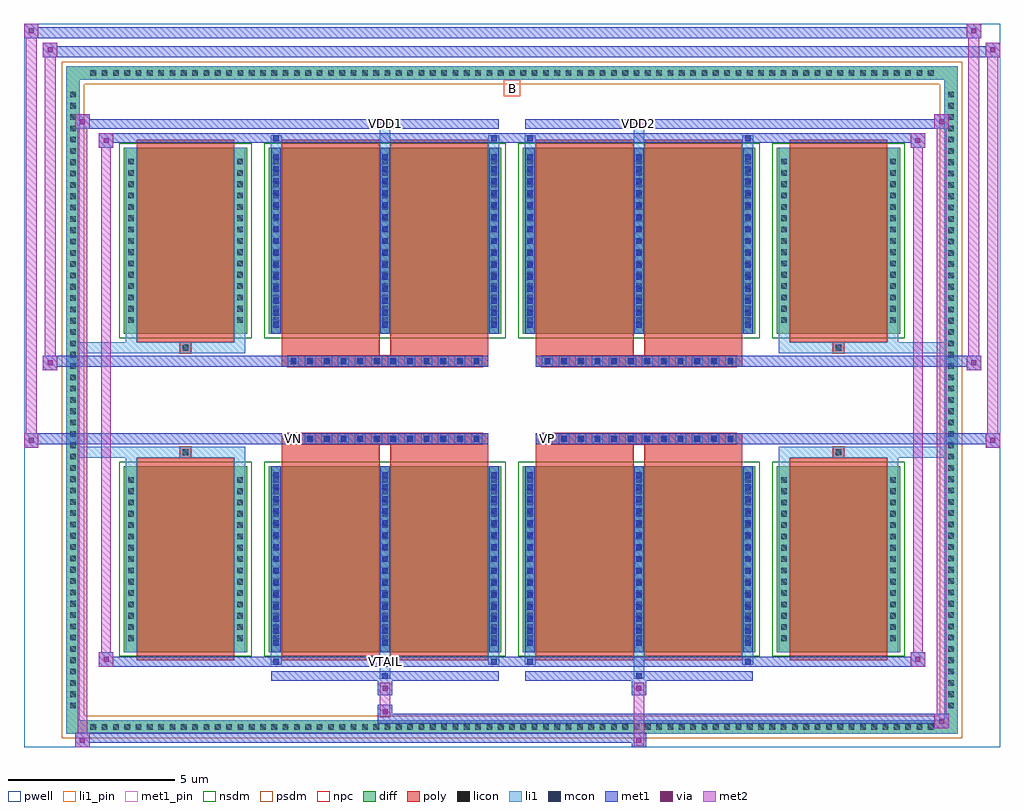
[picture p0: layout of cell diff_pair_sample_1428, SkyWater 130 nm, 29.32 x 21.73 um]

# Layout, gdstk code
import gdstk
lib = gdstk.Library(unit=1e-6, precision=5e-09)
def R(c, l, rs):  # rectangles x0, y0, x1, y1
    for r in rs: c.add(gdstk.rectangle(r[:2], r[2:], *l))
def A(c, l, x, y, w, h, nx, ny, dx, dy):  # array of equal rectangles
    R(c, l, [(x+i*dx, y+j*dy, x+i*dx+w, y+j*dy+h) for i in range(nx) for j in range(ny)])
def P(c, l, *ps):  # polygons
    for p in ps: c.add(gdstk.Polygon(p, *l))
pwell = (64, 44)
diff = (65, 20)
poly = (66, 20)
licon = (66, 44)
li1_pin = (67, 16)
li1 = (67, 20)
mcon = (67, 44)
met1_pin = (68, 16)
met1 = (68, 20)
via = (68, 44)
met2 = (69, 20)
nsdm = (93, 44)
psdm = (94, 20)
npc = (95, 20)

diff_pair_sample_1428 = lib.new_cell('diff_pair_sample_1428')
R(diff_pair_sample_1428, pwell, [(-14.66,-10.43,14.66,11.3), (-11.98,-8.62,-0.01,-0.8), (0.01,-8.62,11.98,-0.8), (-11.98,0.8,-0.01,8.62), (0.01,0.8,11.98,8.62)])
A(diff_pair_sample_1428, diff, -12.785, -10.03, 0.41, 0.41, 75, 2, 0.34, 19.65)
A(diff_pair_sample_1428, diff, -13.39, -9.385, 0.41, 0.41, 1, 55, 0, 0.34)
A(diff_pair_sample_1428, diff, 12.98, -9.385, 0.41, 0.41, 1, 55, 0, 0.34)
R(diff_pair_sample_1428, diff, [(-12.785,-10.03,12.785,-9.62), (-13.39,-9.385,-12.98,9.385), (12.98,-9.385,13.39,9.385), (-11.67,-7.575,-7.95,-1.985), (-7.31,-7.575,-0.32,-1.985), (0.32,-7.575,7.31,-1.985), (7.95,-7.575,11.67,-1.985), (-11.67,1.985,-7.95,7.575), (-7.31,1.985,-0.32,7.575), (0.32,1.985,7.31,7.575), (7.95,1.985,11.67,7.575), (-12.785,9.62,12.785,10.03)])
P(diff_pair_sample_1428, diff, [(13.39,10.03),(-13.39,10.03),(-13.39,-9.62),(-12.98,-9.62),(-12.98,9.62),(12.98,9.62),(12.98,-9.62),(-12.98,-9.62),(-13.39,-9.62),(-13.39,-10.03),(13.39,-10.03)])
A(diff_pair_sample_1428, poly, -6.73, -1.33, 0.33, 0.33, 12, 2, 0.5, 2.33)
A(diff_pair_sample_1428, poly, 0.9, -1.33, 0.33, 0.33, 12, 2, 0.5, 2.33)
R(diff_pair_sample_1428, poly, [(-11.28,-7.825,-8.34,-1.735), (-6.92,-7.825,-3.98,-1.735), (-3.65,-7.825,-0.71,-1.735), (0.71,-7.825,3.65,-1.735), (3.98,-7.825,6.92,-1.735), (8.34,-7.825,11.28,-1.735), (-9.975,-1.735,-9.645,-1.405), (-9.975,-1.735,-9.645,-1.405), (-6.92,-1.735,-3.98,-1.33), (-3.65,-1.735,-0.71,-1.33), (0.71,-1.735,3.65,-1.33), (3.98,-1.735,6.92,-1.33), (9.645,-1.735,9.975,-1.405), (9.645,-1.735,9.975,-1.405), (-6.92,-1.33,-0.71,-1), (0.71,-1.33,6.92,-1), (-6.92,1,-0.71,1.33), (0.71,1,6.92,1.33), (-6.92,1.33,-3.98,1.735), (-3.65,1.33,-0.71,1.735), (0.71,1.33,3.65,1.735), (3.98,1.33,6.92,1.735), (-9.975,1.405,-9.645,1.735), (-9.975,1.405,-9.645,1.735), (9.645,1.405,9.975,1.735), (9.645,1.405,9.975,1.735), (-11.28,1.735,-8.34,7.825), (-6.92,1.735,-3.98,7.825), (-3.65,1.735,-0.71,7.825), (0.71,1.735,3.65,7.825), (3.98,1.735,6.92,7.825), (8.34,1.735,11.28,7.825)])
A(diff_pair_sample_1428, licon, -12.665, -9.91, 0.17, 0.17, 75, 2, 0.34, 19.65)
A(diff_pair_sample_1428, licon, -13.27, -9.265, 0.17, 0.17, 1, 55, 0, 0.34)
A(diff_pair_sample_1428, licon, 13.1, -9.265, 0.17, 0.17, 1, 55, 0, 0.34)
A(diff_pair_sample_1428, licon, -11.53, -7.245, 0.17, 0.17, 1, 15, 0, 0.34)
A(diff_pair_sample_1428, licon, -8.26, -7.245, 0.17, 0.17, 1, 15, 0, 0.34)
A(diff_pair_sample_1428, licon, -7.17, -7.245, 0.17, 0.17, 3, 15, 3.27, 0.34)
A(diff_pair_sample_1428, licon, 0.46, -7.245, 0.17, 0.17, 3, 15, 3.27, 0.34)
A(diff_pair_sample_1428, licon, 8.09, -7.245, 0.17, 0.17, 1, 15, 0, 0.34)
A(diff_pair_sample_1428, licon, 11.36, -7.245, 0.17, 0.17, 1, 15, 0, 0.34)
A(diff_pair_sample_1428, licon, -6.65, -1.25, 0.17, 0.17, 12, 2, 0.5, 2.33)
A(diff_pair_sample_1428, licon, 0.98, -1.25, 0.17, 0.17, 12, 2, 0.5, 2.33)
A(diff_pair_sample_1428, licon, -11.53, 2.315, 0.17, 0.17, 1, 15, 0, 0.34)
A(diff_pair_sample_1428, licon, -8.26, 2.315, 0.17, 0.17, 1, 15, 0, 0.34)
A(diff_pair_sample_1428, licon, -7.17, 2.315, 0.17, 0.17, 3, 15, 3.27, 0.34)
A(diff_pair_sample_1428, licon, 0.46, 2.315, 0.17, 0.17, 3, 15, 3.27, 0.34)
A(diff_pair_sample_1428, licon, 8.09, 2.315, 0.17, 0.17, 1, 15, 0, 0.34)
A(diff_pair_sample_1428, licon, 11.36, 2.315, 0.17, 0.17, 1, 15, 0, 0.34)
R(diff_pair_sample_1428, licon, [(-9.895,-1.655,-9.725,-1.485), (9.725,-1.655,9.895,-1.485), (-9.895,1.485,-9.725,1.655), (9.725,1.485,9.895,1.655)])
R(diff_pair_sample_1428, li1_pin, [(-0.25,9.12,0.25,9.62)])
A(diff_pair_sample_1428, li1, -12.745, -9.99, 0.33, 0.33, 75, 2, 0.34, 19.65)
A(diff_pair_sample_1428, li1, -13.35, -9.345, 0.33, 0.33, 1, 55, 0, 0.34)
A(diff_pair_sample_1428, li1, 13.02, -9.345, 0.33, 0.33, 1, 55, 0, 0.34)
A(diff_pair_sample_1428, li1, -7.25, -7.575, 0.33, 5.59, 3, 2, 3.27, 9.56)
A(diff_pair_sample_1428, li1, 0.38, -7.575, 0.33, 5.59, 3, 2, 3.27, 9.56)
A(diff_pair_sample_1428, li1, -7.17, -7.385, 0.17, 0.17, 3, 15, 3.27, 0.36)
A(diff_pair_sample_1428, li1, -7.17, -7.385, 0.17, 5.21, 3, 2, 3.27, 9.56)
A(diff_pair_sample_1428, li1, 0.46, -7.385, 0.17, 0.17, 3, 15, 3.27, 0.36)
A(diff_pair_sample_1428, li1, 0.46, -7.385, 0.17, 5.21, 3, 2, 3.27, 9.56)
A(diff_pair_sample_1428, li1, -11.61, -7.325, 0.33, 0.33, 1, 15, 0, 0.34)
A(diff_pair_sample_1428, li1, -8.34, -7.325, 0.33, 0.33, 1, 15, 0, 0.34)
A(diff_pair_sample_1428, li1, -7.25, -7.325, 0.33, 0.33, 3, 15, 3.27, 0.34)
A(diff_pair_sample_1428, li1, 0.38, -7.325, 0.33, 0.33, 3, 15, 3.27, 0.34)
A(diff_pair_sample_1428, li1, 8.01, -7.325, 0.33, 0.33, 1, 15, 0, 0.34)
A(diff_pair_sample_1428, li1, 11.28, -7.325, 0.33, 0.33, 1, 15, 0, 0.34)
A(diff_pair_sample_1428, li1, -6.73, -1.33, 0.33, 0.33, 12, 2, 0.5, 2.33)
A(diff_pair_sample_1428, li1, 0.9, -1.33, 0.33, 0.33, 12, 2, 0.5, 2.33)
A(diff_pair_sample_1428, li1, -7.17, 2.175, 0.17, 0.17, 3, 15, 3.27, 0.36)
A(diff_pair_sample_1428, li1, 0.46, 2.175, 0.17, 0.17, 3, 15, 3.27, 0.36)
A(diff_pair_sample_1428, li1, -11.61, 2.235, 0.33, 0.33, 1, 15, 0, 0.34)
A(diff_pair_sample_1428, li1, -8.34, 2.235, 0.33, 0.33, 1, 15, 0, 0.34)
A(diff_pair_sample_1428, li1, -7.25, 2.235, 0.33, 0.33, 3, 15, 3.27, 0.34)
A(diff_pair_sample_1428, li1, 0.38, 2.235, 0.33, 0.33, 3, 15, 3.27, 0.34)
A(diff_pair_sample_1428, li1, 8.01, 2.235, 0.33, 0.33, 1, 15, 0, 0.34)
A(diff_pair_sample_1428, li1, 11.28, 2.235, 0.33, 0.33, 1, 15, 0, 0.34)
R(diff_pair_sample_1428, li1, [(-13.39,-10.03,-12.98,-9.62), (-13.39,-10.03,-12.98,-9.62), (-12.98,-10.03,12.98,-9.62), (12.98,-10.03,13.39,-9.62), (12.98,-10.03,13.39,-9.62), (-13.39,-9.62,-12.98,9.62), (12.98,-9.62,13.39,9.62), (-3.98,-8.38,-3.65,-7.575), (-3.9,-8.38,-3.73,-8.21), (3.65,-8.38,3.98,-7.575), (3.73,-8.38,3.9,-8.21), (-7.25,-7.95,-6.92,-7.575), (-7.17,-7.95,-7,-7.78), (-0.71,-7.95,-0.38,-7.575), (-0.63,-7.95,-0.46,-7.78), (0.38,-7.95,0.71,-7.575), (0.46,-7.95,0.63,-7.78), (6.92,-7.95,7.25,-7.575), (7,-7.95,7.17,-7.78), (-11.61,-7.575,-11.28,-1.985), (-8.34,-7.575,-8.01,-1.985), (8.01,-7.575,8.34,-1.985), (11.28,-7.575,11.61,-1.985), (-11.61,-1.985,-11.28,-1.405), (-8.34,-1.985,-8.01,-1.405), (8.01,-1.985,8.34,-1.405), (11.28,-1.985,11.61,-1.405), (-13.39,-1.735,-9.975,-1.405), (-11.61,-1.735,-9.975,-1.405), (-9.975,-1.735,-9.645,-1.405), (-9.645,-1.735,-8.01,-1.405), (8.01,-1.735,9.645,-1.405), (9.645,-1.735,9.975,-1.405), (9.645,-1.735,13.39,-1.405), (9.975,-1.735,11.61,-1.405), (-13.39,1.405,-9.975,1.735), (-11.61,1.405,-9.975,1.735), (-11.61,1.405,-11.28,1.985), (-9.975,1.405,-9.645,1.735), (-9.645,1.405,-8.01,1.735), (-8.34,1.405,-8.01,1.985), (8.01,1.405,9.645,1.735), (8.01,1.405,8.34,1.985), (9.645,1.405,9.975,1.735), (9.645,1.405,13.39,1.735), (9.975,1.405,11.61,1.735), (11.28,1.405,11.61,1.985), (-11.61,1.985,-11.28,7.575), (-8.34,1.985,-8.01,7.575), (8.01,1.985,8.34,7.575), (11.28,1.985,11.61,7.575), (-7.25,7.575,-6.92,7.95), (-3.98,7.575,-3.65,8.38), (-0.71,7.575,-0.38,7.95), (0.38,7.575,0.71,7.95), (3.65,7.575,3.98,8.38), (6.92,7.575,7.25,7.95), (-7.17,7.78,-7,7.95), (-0.63,7.78,-0.46,7.95), (0.46,7.78,0.63,7.95), (7,7.78,7.17,7.95), (-3.9,8.21,-3.73,8.38), (3.73,8.21,3.9,8.38), (-13.39,9.62,-12.98,10.03), (-13.39,9.62,-12.98,10.03), (-12.98,9.62,12.98,10.03), (12.98,9.62,13.39,10.03), (12.98,9.62,13.39,10.03)])
A(diff_pair_sample_1428, mcon, -7.17, -7.385, 0.17, 0.17, 3, 15, 3.27, 0.36)
A(diff_pair_sample_1428, mcon, 0.46, -7.385, 0.17, 0.17, 3, 15, 3.27, 0.36)
A(diff_pair_sample_1428, mcon, -6.65, -1.25, 0.17, 0.17, 12, 2, 0.5, 2.33)
A(diff_pair_sample_1428, mcon, 0.98, -1.25, 0.17, 0.17, 12, 2, 0.5, 2.33)
A(diff_pair_sample_1428, mcon, -7.17, 2.175, 0.17, 0.17, 3, 15, 3.27, 0.36)
A(diff_pair_sample_1428, mcon, 0.46, 2.175, 0.17, 0.17, 3, 15, 3.27, 0.36)
R(diff_pair_sample_1428, mcon, [(-3.9,-8.38,-3.73,-8.21), (3.73,-8.38,3.9,-8.21), (-7.17,-7.95,-7,-7.78), (-0.63,-7.95,-0.46,-7.78), (0.46,-7.95,0.63,-7.78), (7,-7.95,7.17,-7.78), (-7.17,7.78,-7,7.95), (-0.63,7.78,-0.46,7.95), (0.46,7.78,0.63,7.95), (7,7.78,7.17,7.95), (-3.9,8.21,-3.73,8.38), (3.73,8.21,3.9,8.38)])
R(diff_pair_sample_1428, met1_pin, [(-3.95,-7.99,-3.68,-7.72), (-6.7,-1.29,-6.43,-1.02), (0.93,-1.29,1.2,-1.02), (-3.95,8.17,-3.68,8.44), (3.68,8.17,3.95,8.44)])
A(diff_pair_sample_1428, met1, -7.23, -7.575, 0.29, 5.59, 3, 2, 3.27, 9.56)
A(diff_pair_sample_1428, met1, 0.4, -7.575, 0.29, 5.59, 3, 2, 3.27, 9.56)
A(diff_pair_sample_1428, met1, -7.23, -7.445, 0.29, 0.29, 3, 15, 3.27, 0.36)
A(diff_pair_sample_1428, met1, 0.4, -7.445, 0.29, 0.29, 3, 15, 3.27, 0.36)
A(diff_pair_sample_1428, met1, -6.71, -1.31, 0.29, 0.29, 12, 2, 0.5, 2.33)
A(diff_pair_sample_1428, met1, 0.92, -1.31, 0.29, 0.29, 12, 2, 0.5, 2.33)
A(diff_pair_sample_1428, met1, -7.23, 2.115, 0.29, 0.29, 3, 15, 3.27, 0.36)
A(diff_pair_sample_1428, met1, 0.4, 2.115, 0.29, 0.29, 3, 15, 3.27, 0.36)
R(diff_pair_sample_1428, met1, [(-13.12,-10.43,-12.69,-10), (3.6,-10.43,4.03,-10), (-13.12,-10.29,4.03,-10), (12.69,-9.86,13.12,-9.43), (-4.03,-9.72,13.12,-9.43), (-4.03,-9.58,-3.6,-9.15), (-4.03,-8.87,-3.6,-8.44), (3.6,-8.87,4.03,-8.44), (-7.23,-8.44,-0.4,-8.15), (-3.96,-8.44,-3.67,-8.15), (0.4,-8.44,7.23,-8.15), (3.67,-8.44,3.96,-8.15), (-12.41,-8.01,-11.98,-7.58), (-12.41,-8.01,-7.23,-7.72), (-7.23,-8.01,-6.94,-7.72), (-7.23,-8.01,-0.4,-7.72), (-0.69,-8.01,-0.4,-7.72), (-0.4,-8.01,0.4,-7.72), (0.4,-8.01,0.69,-7.72), (0.4,-8.01,7.23,-7.72), (6.94,-8.01,7.23,-7.72), (7.23,-8.01,12.41,-7.72), (11.98,-8.01,12.41,-7.58), (-14.66,-1.43,-14.23,-1), (14.23,-1.43,14.66,-1), (-14.66,-1.33,-0.71,-1), (-6.92,-1.33,-0.71,-1), (0.71,-1.33,6.92,-1), (0.71,-1.33,14.66,-1), (-14.09,0.9,-13.66,1.33), (13.66,0.9,14.09,1.33), (-14.09,1,-6.92,1.33), (-6.92,1,-0.71,1.33), (0.71,1,6.92,1.33), (6.92,1,14.09,1.33), (-12.41,7.58,-11.98,8.01), (11.98,7.58,12.41,8.01), (-12.41,7.72,-7.23,8.01), (-7.23,7.72,-6.94,8.01), (-7.23,7.72,-0.4,8.01), (-0.69,7.72,-0.4,8.01), (-0.4,7.72,0.4,8.01), (0.4,7.72,0.69,8.01), (0.4,7.72,7.23,8.01), (6.94,7.72,7.23,8.01), (7.23,7.72,12.41,8.01), (-13.12,8.15,-12.69,8.58), (-13.12,8.15,-7.23,8.44), (-7.23,8.15,-0.4,8.44), (-3.96,8.15,-3.67,8.44), (0.4,8.15,7.23,8.44), (3.67,8.15,3.96,8.44), (7.23,8.15,13.12,8.44), (12.69,8.15,13.12,8.58), (-14.09,10.3,-13.66,10.73), (-14.09,10.3,-11.98,10.63), (-11.98,10.3,11.98,10.63), (11.98,10.3,14.66,10.63), (14.23,10.3,14.66,10.73), (-14.66,10.87,-14.23,11.3), (-14.66,10.87,-11.98,11.2), (-11.98,10.87,11.98,11.2), (11.98,10.87,14.09,11.2), (13.66,10.87,14.09,11.3)])
R(diff_pair_sample_1428, via, [(-12.98,-10.29,-12.83,-10.14), (3.74,-10.29,3.89,-10.14), (12.83,-9.72,12.98,-9.57), (-3.89,-9.44,-3.74,-9.29), (-3.89,-8.73,-3.74,-8.58), (3.74,-8.73,3.89,-8.58), (-12.27,-7.87,-12.12,-7.72), (12.12,-7.87,12.27,-7.72), (-14.52,-1.29,-14.37,-1.14), (14.37,-1.29,14.52,-1.14), (-13.95,1.04,-13.8,1.19), (13.8,1.04,13.95,1.19), (-12.27,7.72,-12.12,7.87), (12.12,7.72,12.27,7.87), (-12.98,8.29,-12.83,8.44), (12.83,8.29,12.98,8.44), (-13.95,10.44,-13.8,10.59), (14.37,10.44,14.52,10.59), (-14.52,11.01,-14.37,11.16), (13.8,11.01,13.95,11.16)])
R(diff_pair_sample_1428, met2, [(-13.12,-10.43,-12.69,-10), (-13.05,-10.43,-12.76,8.58), (-12.76,-10.43,-12.69,-10), (-13.07,-10.38,-12.74,-10.05), (3.65,-10.38,3.98,-10.05), (3.65,-10.05,3.98,-8.82), (12.69,-9.86,13.12,-9.43), (12.76,-9.86,13.05,8.58), (13.05,-9.86,13.12,-9.43), (12.74,-9.81,13.07,-9.48), (-3.98,-9.53,-3.65,-9.2), (-3.98,-9.2,-3.65,-8.82), (-3.98,-8.82,-3.65,-8.49), (3.65,-8.82,3.98,-8.49), (-12.41,-8.01,-11.98,-7.58), (-12.34,-8.01,-12.05,8.01), (-12.05,-8.01,-11.98,-7.58), (11.98,-8.01,12.41,-7.58), (12.05,-8.01,12.34,8.01), (12.34,-8.01,12.41,-7.58), (-12.36,-7.96,-12.03,-7.63), (12.03,-7.96,12.36,-7.63), (-14.66,-1.43,-14.23,-1), (-14.61,-1.43,-14.28,11.3), (-14.28,-1.43,-14.23,-1), (14.23,-1.43,14.66,-1), (14.28,-1.43,14.61,10.73), (14.61,-1.43,14.66,-1), (-14.61,-1.38,-14.28,-1.05), (14.28,-1.38,14.61,-1.05), (-14.09,0.9,-13.66,1.33), (-14.04,0.9,-13.71,10.73), (-13.71,0.9,-13.66,1.33), (13.66,0.9,14.09,1.33), (13.71,0.9,14.04,11.3), (14.04,0.9,14.09,1.33), (-14.04,0.95,-13.71,1.28), (13.71,0.95,14.04,1.28), (-12.41,7.58,-11.98,8.01), (-12.05,7.58,-11.98,8.01), (11.98,7.58,12.41,8.01), (12.34,7.58,12.41,8.01), (-12.36,7.63,-12.03,7.96), (12.03,7.63,12.36,7.96), (-13.12,8.15,-12.69,8.58), (-12.76,8.15,-12.69,8.58), (12.69,8.15,13.12,8.58), (13.05,8.15,13.12,8.58), (-13.07,8.2,-12.74,8.53), (12.74,8.2,13.07,8.53), (-14.09,10.3,-13.66,10.73), (-13.71,10.3,-13.66,10.73), (14.23,10.3,14.66,10.73), (14.61,10.3,14.66,10.73), (-14.04,10.35,-13.71,10.68), (14.28,10.35,14.61,10.68), (-14.66,10.87,-14.23,11.3), (-14.28,10.87,-14.23,11.3), (13.66,10.87,14.09,11.3), (14.04,10.87,14.09,11.3), (-14.61,10.92,-14.28,11.25), (13.71,10.92,14.04,11.25)])
R(diff_pair_sample_1428, nsdm, [(-11.8,-7.705,-7.82,-1.855), (-7.44,-7.705,-0.19,-1.855), (0.19,-7.705,7.44,-1.855), (7.82,-7.705,11.8,-1.855), (-11.8,1.855,-7.82,7.705), (-7.44,1.855,-0.19,7.705), (0.19,1.855,7.44,7.705), (7.82,1.855,11.8,7.705)])
P(diff_pair_sample_1428, psdm, [(13.52,10.16),(-13.52,10.16),(-13.52,-9.49),(-12.85,-9.49),(-12.85,9.49),(12.85,9.49),(12.85,-9.49),(-12.85,-9.49),(-13.52,-9.49),(-13.52,-10.16),(13.52,-10.16)])
A(diff_pair_sample_1428, npc, -6.75, -1.35, 0.37, 0.37, 12, 2, 0.5, 2.33)
A(diff_pair_sample_1428, npc, 0.88, -1.35, 0.37, 0.37, 12, 2, 0.5, 2.33)
R(diff_pair_sample_1428, npc, [(-9.995,-1.755,-9.625,-1.385), (9.625,-1.755,9.995,-1.385), (-6.75,-1.35,-5.88,-0.98), (-6.75,-1.35,-5.88,-0.98), (-6.25,-1.35,-5.38,-0.98), (-6.25,-1.35,-5.38,-0.98), (-5.75,-1.35,-4.88,-0.98), (-5.75,-1.35,-4.88,-0.98), (-5.25,-1.35,-4.38,-0.98), (-5.25,-1.35,-4.38,-0.98), (-4.75,-1.35,-3.88,-0.98), (-4.75,-1.35,-3.88,-0.98), (-4.25,-1.35,-3.38,-0.98), (-4.25,-1.35,-3.38,-0.98), (-3.75,-1.35,-2.88,-0.98), (-3.75,-1.35,-2.88,-0.98), (-3.25,-1.35,-2.38,-0.98), (-3.25,-1.35,-2.38,-0.98), (-2.75,-1.35,-1.88,-0.98), (-2.75,-1.35,-1.88,-0.98), (-2.25,-1.35,-1.38,-0.98), (-2.25,-1.35,-1.38,-0.98), (-1.75,-1.35,-0.88,-0.98), (-1.75,-1.35,-0.88,-0.98), (0.88,-1.35,1.75,-0.98), (0.88,-1.35,1.75,-0.98), (1.38,-1.35,2.25,-0.98), (1.38,-1.35,2.25,-0.98), (1.88,-1.35,2.75,-0.98), (1.88,-1.35,2.75,-0.98), (2.38,-1.35,3.25,-0.98), (2.38,-1.35,3.25,-0.98), (2.88,-1.35,3.75,-0.98), (2.88,-1.35,3.75,-0.98), (3.38,-1.35,4.25,-0.98), (3.38,-1.35,4.25,-0.98), (3.88,-1.35,4.75,-0.98), (3.88,-1.35,4.75,-0.98), (4.38,-1.35,5.25,-0.98), (4.38,-1.35,5.25,-0.98), (4.88,-1.35,5.75,-0.98), (4.88,-1.35,5.75,-0.98), (5.38,-1.35,6.25,-0.98), (5.38,-1.35,6.25,-0.98), (5.88,-1.35,6.75,-0.98), (5.88,-1.35,6.75,-0.98), (-6.75,0.98,-5.88,1.35), (-6.75,0.98,-5.88,1.35), (-6.25,0.98,-5.38,1.35), (-6.25,0.98,-5.38,1.35), (-5.75,0.98,-4.88,1.35), (-5.75,0.98,-4.88,1.35), (-5.25,0.98,-4.38,1.35), (-5.25,0.98,-4.38,1.35), (-4.75,0.98,-3.88,1.35), (-4.75,0.98,-3.88,1.35), (-4.25,0.98,-3.38,1.35), (-4.25,0.98,-3.38,1.35), (-3.75,0.98,-2.88,1.35), (-3.75,0.98,-2.88,1.35), (-3.25,0.98,-2.38,1.35), (-3.25,0.98,-2.38,1.35), (-2.75,0.98,-1.88,1.35), (-2.75,0.98,-1.88,1.35), (-2.25,0.98,-1.38,1.35), (-2.25,0.98,-1.38,1.35), (-1.75,0.98,-0.88,1.35), (-1.75,0.98,-0.88,1.35), (0.88,0.98,1.75,1.35), (0.88,0.98,1.75,1.35), (1.38,0.98,2.25,1.35), (1.38,0.98,2.25,1.35), (1.88,0.98,2.75,1.35), (1.88,0.98,2.75,1.35), (2.38,0.98,3.25,1.35), (2.38,0.98,3.25,1.35), (2.88,0.98,3.75,1.35), (2.88,0.98,3.75,1.35), (3.38,0.98,4.25,1.35), (3.38,0.98,4.25,1.35), (3.88,0.98,4.75,1.35), (3.88,0.98,4.75,1.35), (4.38,0.98,5.25,1.35), (4.38,0.98,5.25,1.35), (4.88,0.98,5.75,1.35), (4.88,0.98,5.75,1.35), (5.38,0.98,6.25,1.35), (5.38,0.98,6.25,1.35), (5.88,0.98,6.75,1.35), (5.88,0.98,6.75,1.35), (-9.995,1.385,-9.625,1.755), (9.625,1.385,9.995,1.755)])
diff_pair_sample_1428.add(gdstk.Label('VTAIL', (-3.815,-7.855), layer=68, texttype=5))
diff_pair_sample_1428.add(gdstk.Label('VN', (-6.565,-1.155), layer=68, texttype=5))
diff_pair_sample_1428.add(gdstk.Label('VP', (1.065,-1.155), layer=68, texttype=5))
diff_pair_sample_1428.add(gdstk.Label('B', (0,9.37), layer=67, texttype=5))
diff_pair_sample_1428.add(gdstk.Label('VDD2', (3.815,8.305), layer=68, texttype=5))
diff_pair_sample_1428.add(gdstk.Label('VDD1', (-3.815,8.305), layer=68, texttype=5))

lib.write_gds('diff_pair_sample_1428.gds')
